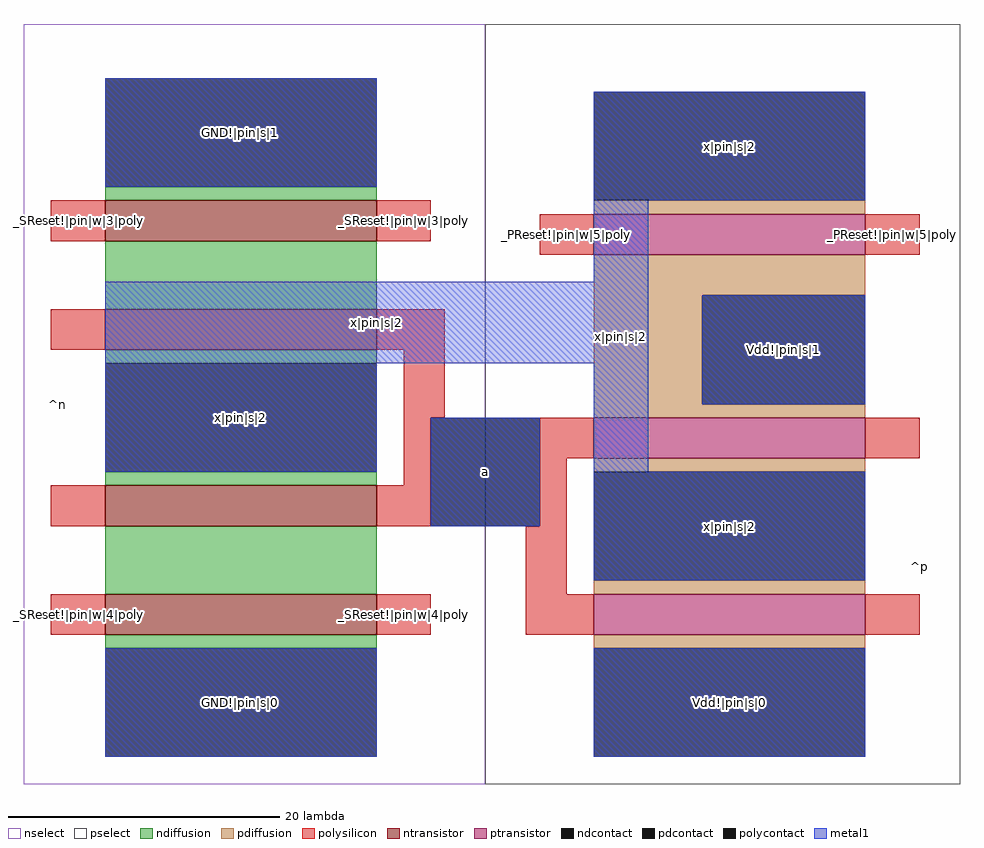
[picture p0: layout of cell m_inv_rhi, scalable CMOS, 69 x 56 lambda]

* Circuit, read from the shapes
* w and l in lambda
.subckt m_inv_rhi GND!|pin|s|0 GND!|pin|s|1 Vdd!|pin|s|0 Vdd!|pin|s|1 _PReset!|pin|w|5|poly _SReset!|pin|w|3|poly _SReset!|pin|w|4|poly a x|pin|s|2
M1 n1 _SReset!|pin|w|4|poly GND!|pin|s|0 VSUBS nfet w=20 l=3
M2 x|pin|s|2 a n1 VSUBS nfet w=20 l=3
M3 n2 a x|pin|s|2 VSUBS nfet w=20 l=3
M4 GND!|pin|s|1 _SReset!|pin|w|3|poly n2 VSUBS nfet w=20 l=3
M5 x|pin|s|2 a Vdd!|pin|s|0 NWELL pfet w=20 l=3
M6 Vdd!|pin|s|1 a x|pin|s|2 NWELL pfet w=20 l=3
M7 x|pin|s|2 _PReset!|pin|w|5|poly Vdd!|pin|s|1 NWELL pfet w=20 l=3
.ends

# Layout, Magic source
magic
tech scmos
<< nselect >>
rect -34 5 0 61
<< pselect >>
rect 0 5 35 61
<< ndiffusion >>
rect -28 48 -8 49
rect -28 40 -8 45
rect -28 36 -8 37
rect -28 27 -8 28
rect -28 19 -8 24
rect -28 15 -8 16
<< pdiffusion >>
rect 8 47 28 48
rect 8 41 28 44
rect 8 33 16 41
rect 8 32 28 33
rect 8 28 28 29
rect 8 19 28 20
rect 8 15 28 16
<< ntransistor >>
rect -28 45 -8 48
rect -28 37 -8 40
rect -28 24 -8 27
rect -28 16 -8 19
<< ptransistor >>
rect 8 44 28 47
rect 8 29 28 32
rect 8 16 28 19
<< polysilicon >>
rect -32 45 -28 48
rect -8 45 -4 48
rect 4 44 8 47
rect 28 44 32 47
rect -32 37 -28 40
rect -8 37 -3 40
rect -6 32 -3 37
rect -6 27 -4 32
rect -32 24 -28 27
rect -8 24 -4 27
rect 4 29 8 32
rect 28 29 32 32
rect 4 24 6 29
rect 3 19 6 24
rect -32 16 -28 19
rect -8 16 -4 19
rect 3 16 8 19
rect 28 16 32 19
<< ndcontact >>
rect -28 49 -8 57
rect -28 28 -8 36
rect -28 7 -8 15
<< pdcontact >>
rect 8 48 28 56
rect 16 33 28 41
rect 8 20 28 28
rect 8 7 28 15
<< polycontact >>
rect -4 24 4 32
<< metal1 >>
rect -28 49 -8 57
rect 8 48 28 56
rect 8 42 12 48
rect -28 36 12 42
rect -28 28 -8 36
rect -4 24 4 32
rect 8 28 12 36
rect 16 33 28 41
rect 8 20 28 28
rect -28 7 -8 15
rect 8 7 28 15
<< labels >>
rlabel metal1 -4 24 4 32 1 a
rlabel space -35 5 -28 61 7 ^n
rlabel space 28 6 36 36 3 ^p
rlabel metal1 -28 36 12 42 1 x|pin|s|2
rlabel metal1 -28 28 -8 36 1 x|pin|s|2
rlabel metal1 8 48 28 56 1 x|pin|s|2
rlabel metal1 8 20 28 28 1 x|pin|s|2
rlabel metal1 8 20 12 56 1 x|pin|s|2
rlabel polysilicon -8 45 -4 48 1 _SReset!|pin|w|3|poly
rlabel polysilicon -32 45 -28 48 1 _SReset!|pin|w|3|poly
rlabel polysilicon -32 16 -28 19 1 _SReset!|pin|w|4|poly
rlabel polysilicon -8 16 -4 19 1 _SReset!|pin|w|4|poly
rlabel polysilicon 4 44 8 47 1 _PReset!|pin|w|5|poly
rlabel polysilicon 28 44 32 47 1 _PReset!|pin|w|5|poly
rlabel metal1 16 33 28 41 1 Vdd!|pin|s|1
rlabel metal1 -28 7 -8 15 1 GND!|pin|s|0
rlabel metal1 8 7 28 15 1 Vdd!|pin|s|0
rlabel metal1 -28 49 -8 57 1 GND!|pin|s|1
<< end >>
